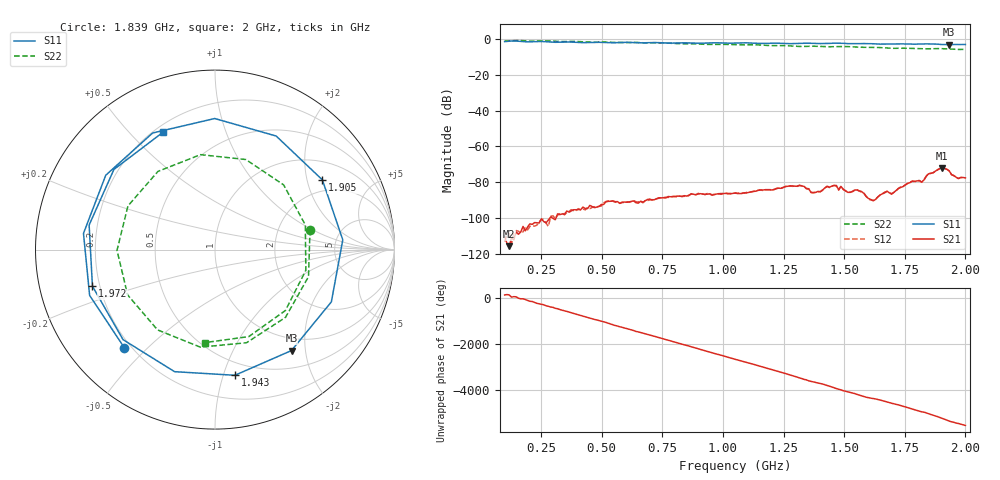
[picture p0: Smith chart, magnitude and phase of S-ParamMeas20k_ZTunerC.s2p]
!Keysight Technologies,N5242B,MY48420967,A.15.65.19
!Date: Monday, December 19, 2022 08:56:08
!Correction: S11(C  2-Port  )
!S21(C  2-Port  )
!S12(C  2-Port  )
!S22(C  2-Port  )
!S2P File: Measurements: S11, S21, S12, S22:
# Hz S  dB  R 50
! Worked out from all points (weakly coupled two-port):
!   201 points, 100 MHz to 2 GHz, reference 50 ohm
!   highest |S21| = -72.02 dB at 1.905 GHz (marker M1); lowest = -115.8 dB at 119 MHz (marker M2)
!   lowest |S11| = -3.0 dB at 1.933 GHz (marker M3), VSWR 5.80, Z = 38.9 - j87.1 ohm
!   |S11| at or under -10 dB: nowhere
!   |S22| runs from -5.7 to -0.7 dB; largest |S21 - S12| = 4.3e-06
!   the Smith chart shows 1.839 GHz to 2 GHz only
!   S11 on the Smith chart (normalised r, x): 1.839 GHz: 0.17, -0.43; 1.905 GHz: 1.57, +2.49; 1.943 GHz: 0.39, -1.09; 1.972 GHz: 0.17, -0.14; 2 GHz: 0.23, +0.63
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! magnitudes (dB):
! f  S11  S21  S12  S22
! 100 MHz  -1.3  -110.1  -113.1  -1.0
! 119 MHz  -1.0  -115.8  -108.6  -0.8
! 423 MHz  -1.9  -94.0  -95.1  -1.4
! 736.5 MHz  -1.9  -88.7  -89.0  -2.1
! 1.05 GHz  -2.1  -86.1  -86.0  -3.1
! 1.373 GHz  -2.3  -85.9  -85.8  -3.9
! 1.687 GHz  -2.7  -86.0  -85.9  -5.0
! 1.772 GHz  -2.7  -80.2  -79.9  -5.1
! 1.81 GHz  -2.6  -79.0  -79.2  -5.2
! 1.819 GHz  -2.7  -79.9  -80.1  -5.3
! 1.829 GHz  -2.6  -78.8  -78.8  -5.3
! 1.839 GHz  -2.6  -76.7  -76.6  -5.3
! 1.848 GHz  -2.6  -75.3  -75.4  -5.3
! 1.867 GHz  -2.7  -74.7  -74.7  -5.2
! 1.886 GHz  -2.7  -73.0  -73.1  -5.2
! 1.905 GHz  -2.9  -72.0  -72.0  -5.3
! 1.924 GHz  -3.0  -72.8  -72.8  -5.4
! 1.933 GHz  -3.0  -73.7  -73.7  -5.4
! 1.943 GHz  -3.0  -75.8  -75.8  -5.5
! 1.972 GHz  -2.9  -78.0  -77.9  -5.7
! 1.981 GHz  -2.9  -77.3  -77.4  -5.7
! 2 GHz  -2.9  -77.6  -77.5  -5.7
